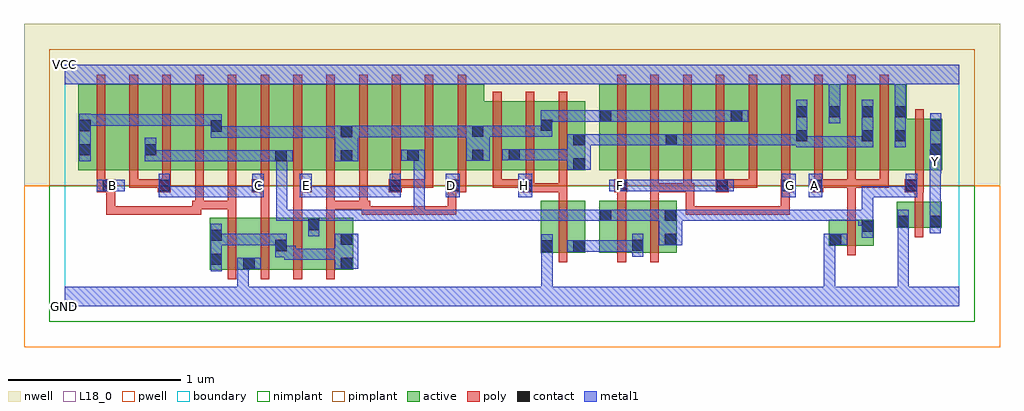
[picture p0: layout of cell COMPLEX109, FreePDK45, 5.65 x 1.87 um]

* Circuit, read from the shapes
.subckt COMPLEX109 A B C D E F G GND H VCC Y
M1 GND B n1 VSUBS nfet w=0.3u l=0.05u
M2 n1 C GND VSUBS nfet w=0.3u l=0.05u
M3 n2 E n1 VSUBS nfet w=0.3u l=0.05u
M4 n1 D n2 VSUBS nfet w=0.3u l=0.05u
M5 n3 H GND VSUBS nfet w=0.3u l=0.05u
M6 n3 F n2 VSUBS nfet w=0.3u l=0.05u
M7 n2 G n3 VSUBS nfet w=0.3u l=0.05u
M8 n2 A GND VSUBS nfet w=0.15u l=0.05u
M9 Y n2 GND VSUBS nfet w=0.15u l=0.05u
M10 n4 B n5 n6 pfet w=0.5u l=0.05u
M11 n2 C n4 n6 pfet w=0.5u l=0.05u
M12 n7 C n2 n6 pfet w=0.5u l=0.05u
M13 n5 B n7 n6 pfet w=0.5u l=0.05u
M14 n8 B n5 n6 pfet w=0.5u l=0.05u
M15 n2 C n8 n6 pfet w=0.5u l=0.05u
M16 n9 E n2 n6 pfet w=0.5u l=0.05u
M17 n5 D n9 n6 pfet w=0.5u l=0.05u
M18 n10 D n5 n6 pfet w=0.5u l=0.05u
M19 n2 E n10 n6 pfet w=0.5u l=0.05u
M20 n11 E n2 n6 pfet w=0.5u l=0.05u
M21 n5 D n11 n6 pfet w=0.5u l=0.05u
M22 n12 H n5 n6 pfet w=0.4u l=0.05u m=3
M23 n13 F n5 n6 pfet w=0.5u l=0.05u
M24 n12 G n13 n6 pfet w=0.5u l=0.05u
M25 n14 G n12 n6 pfet w=0.5u l=0.05u
M26 n5 F n14 n6 pfet w=0.5u l=0.05u
M27 n15 F n5 n6 pfet w=0.5u l=0.05u
M28 n12 G n15 n6 pfet w=0.5u l=0.05u
M29 VCC A n12 n6 pfet w=0.5u l=0.05u m=3
M30 Y n2 VCC n6 pfet w=0.3u l=0.05u
.ends

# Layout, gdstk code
import gdstk
lib = gdstk.Library(unit=1e-6, precision=1e-09)
def R(c, l, rs):  # rectangles x0, y0, x1, y1
    for r in rs: c.add(gdstk.rectangle(r[:2], r[2:], *l))
def A(c, l, x, y, w, h, nx, ny, dx, dy):  # array of equal rectangles
    R(c, l, [(x+i*dx, y+j*dy, x+i*dx+w, y+j*dy+h) for i in range(nx) for j in range(ny)])
active = (1, 0)
pwell = (2, 0)
nwell = (3, 0)
nimplant = (4, 0)
pimplant = (5, 0)
poly = (9, 0)
contact = (10, 0)
metal1 = (11, 0)
L18_0 = (18, 0)
boundary = (235, 0)

complex109 = lib.new_cell('COMPLEX109')
A(complex109, active, 0.08, 0.787, 0.225, 0.5, 3, 1, 0.38, 0)
A(complex109, active, 4.23, 0.787, 0.265, 0.5, 3, 1, 0.19, 0)
R(complex109, active, [(0.84,0.212,1.105,0.512), (1.03,0.212,1.29,0.512), (1.03,0.212,1.105,0.497), (1.215,0.212,1.48,0.512), (1.405,0.212,1.67,0.512), (1.595,0.212,1.67,0.512), (0.84,0.235,0.915,0.512), (1.215,0.235,1.29,0.497), (2.755,0.312,3.015,0.612), (2.755,0.312,2.83,0.392), (2.94,0.312,3.015,0.612), (3.095,0.312,3.355,0.612), (3.28,0.312,3.545,0.612), (3.28,0.312,3.355,0.497), (1.405,0.33,1.48,0.512), (3.095,0.33,3.17,0.612), (3.47,0.345,3.545,0.612), (4.425,0.352,4.5,0.502), (4.425,0.352,4.685,0.502), (4.61,0.352,4.685,0.502), (4.817,0.455,4.892,0.605), (4.817,0.455,5.077,0.605), (5.002,0.455,5.077,0.605), (0.08,0.787,0.185,1.2), (0.305,0.787,0.535,1.287), (0.46,0.787,0.535,1.07), (0.685,0.787,0.915,1.287), (0.84,0.787,0.915,1.2), (1.065,0.787,1.29,1.287), (1.215,0.787,1.29,1.07), (1.215,0.787,1.445,1.287), (1.445,0.787,1.67,1.287), (1.595,0.787,1.67,1.2), (1.595,0.787,1.825,1.287), (1.825,0.787,2.055,1.287), (1.98,0.787,2.205,1.287), (1.98,0.787,2.055,1.07), (2.205,0.787,2.43,1.287), (2.355,0.787,2.43,1.2), (2.355,0.787,2.64,1.187), (2.565,0.787,2.64,1.07), (2.565,0.787,2.827,1.187), (2.752,0.787,3.015,1.187), (2.752,0.787,2.827,1.155), (2.94,0.787,3.015,1.07), (3.095,0.787,3.32,1.287), (3.32,0.787,3.55,1.287), (3.475,0.787,3.7,1.287), (3.475,0.787,3.55,1.07), (3.7,0.787,3.927,1.287), (3.852,0.787,4.08,1.287), (4.08,0.787,4.305,1.287), (4.42,0.787,4.495,1.287), (4.61,0.787,4.685,1.2), (4.8,0.787,5.08,1.087), (4.8,0.787,4.875,1.165), (5.005,0.787,5.08,1.087), (3.095,0.807,3.2,1.2), (3.852,0.807,3.927,1.2), (4.23,0.807,4.305,1.2)])
R(complex109, pwell, [(-0.235,-0.235,5.415,0.7)])
R(complex109, nwell, [(-0.235,0.7,5.415,1.635)])
R(complex109, nimplant, [(-0.09,-0.09,5.27,0.7)])
R(complex109, pimplant, [(-0.09,0.7,5.27,1.49)])
A(complex109, poly, 0.945, 0.157, 0.05, 0.41, 4, 1, 0.19, 0)
A(complex109, poly, 0.185, 0.687, 0.05, 0.095, 3, 1, 0.19, 0)
A(complex109, poly, 1.895, 0.687, 0.05, 0.095, 3, 1, 0.19, 0)
A(complex109, poly, 3.77, 0.687, 0.05, 0.095, 6, 1, 0.19, 0)
A(complex109, poly, 0.185, 0.732, 0.05, 0.61, 12, 1, 0.19, 0)
A(complex109, poly, 2.48, 0.732, 0.05, 0.51, 3, 1, 0.19, 0)
A(complex109, poly, 3.2, 0.732, 0.05, 0.61, 9, 1, 0.19, 0)
R(complex109, poly, [(2.86,0.257,2.91,0.667), (3.2,0.257,3.25,0.667), (3.39,0.257,3.44,0.667), (4.53,0.297,4.58,0.557), (4.922,0.4,4.972,0.66), (4.53,0.507,4.58,0.737), (0.945,0.517,0.995,0.612), (1.135,0.517,1.185,0.712), (1.325,0.517,1.375,0.712), (1.515,0.517,1.565,0.612), (0.242,0.53,0.292,0.58), (0.242,0.53,0.292,0.58), (0.242,0.53,0.292,0.58), (0.242,0.53,0.292,0.712), (0.242,0.53,0.425,0.58), (0.375,0.53,0.425,0.58), (0.375,0.53,0.557,0.58), (0.507,0.53,0.557,0.58), (0.507,0.53,0.557,0.58), (0.507,0.53,0.557,0.58), (0.507,0.53,0.79,0.58), (0.74,0.53,0.79,0.58), (0.74,0.53,0.79,0.58), (0.74,0.53,0.79,0.58), (0.74,0.53,0.79,0.612), (1.72,0.53,1.77,0.58), (1.72,0.53,1.902,0.58), (1.72,0.53,1.77,0.612), (1.852,0.53,1.902,0.58), (1.852,0.53,1.902,0.58), (1.852,0.53,1.902,0.58), (1.852,0.53,2.135,0.58), (2.085,0.53,2.135,0.58), (2.085,0.53,2.135,0.58), (2.085,0.53,2.135,0.58), (2.085,0.53,2.267,0.58), (2.217,0.53,2.267,0.58), (2.217,0.53,2.267,0.58), (2.217,0.53,2.267,0.58), (2.217,0.53,2.267,0.58), (2.217,0.53,2.267,0.58), (2.217,0.53,2.267,0.712), (3.595,0.53,3.645,0.58), (3.595,0.53,3.645,0.58), (3.595,0.53,3.645,0.58), (3.595,0.53,3.645,0.58), (3.595,0.53,3.645,0.58), (3.595,0.53,3.645,0.712), (3.595,0.53,3.845,0.58), (3.795,0.53,3.845,0.58), (3.795,0.53,3.845,0.58), (3.795,0.53,3.845,0.58), (3.795,0.53,3.977,0.58), (3.927,0.53,3.977,0.58), (3.927,0.53,4.197,0.58), (4.147,0.53,4.197,0.58), (4.147,0.53,4.197,0.58), (4.147,0.53,4.197,0.58), (4.147,0.53,4.197,0.58), (4.147,0.53,4.197,0.58), (4.147,0.53,4.197,0.712), (0.74,0.562,0.79,0.612), (0.74,0.562,0.79,0.612), (0.74,0.562,0.805,0.612), (0.755,0.562,0.995,0.612), (0.755,0.562,0.805,0.782), (0.945,0.562,0.995,0.612), (0.945,0.562,0.995,0.612), (0.945,0.562,0.995,0.612), (0.945,0.562,0.995,0.782), (1.515,0.562,1.565,0.612), (1.515,0.562,1.565,0.612), (1.515,0.562,1.565,0.612), (1.515,0.562,1.755,0.612), (1.515,0.562,1.565,0.782), (1.705,0.562,1.77,0.612), (1.705,0.562,1.755,0.782), (1.72,0.562,1.77,0.612), (1.72,0.562,1.77,0.612), (4.922,0.61,4.972,0.712), (2.86,0.617,2.91,0.712), (3.2,0.617,3.25,0.712), (3.39,0.617,3.44,0.712), (0.185,0.662,0.292,0.737), (0.242,0.662,0.292,0.712), (0.242,0.662,0.292,0.712), (0.54,0.662,0.615,0.737), (1.082,0.662,1.185,0.737), (1.325,0.662,1.432,0.737), (1.877,0.662,1.952,0.737), (2.217,0.662,2.325,0.737), (2.637,0.662,2.72,0.737), (2.67,0.662,2.91,0.712), (2.86,0.662,2.91,0.712), (2.86,0.662,2.91,0.712), (2.86,0.662,2.91,0.712), (2.86,0.662,2.91,0.782), (3.182,0.662,3.257,0.737), (3.39,0.662,3.44,0.712), (3.39,0.662,3.44,0.712), (3.39,0.662,3.44,0.712), (3.39,0.662,3.63,0.712), (3.39,0.662,3.44,0.782), (3.58,0.662,3.63,0.782), (3.58,0.662,3.645,0.712), (3.77,0.662,3.845,0.737), (4.147,0.662,4.222,0.737), (4.317,0.662,4.392,0.737), (4.865,0.662,4.975,0.737), (0.375,0.687,0.425,0.737), (0.375,0.687,0.59,0.737), (0.54,0.687,0.59,0.737), (0.54,0.687,0.59,0.737), (1.135,0.687,1.185,0.782), (1.325,0.687,1.375,0.782), (1.902,0.687,2.135,0.737), (2.085,0.687,2.135,0.737), (2.085,0.687,2.135,0.737), (2.085,0.687,2.135,0.737), (2.48,0.687,2.53,0.782), (2.48,0.687,2.53,0.737), (2.48,0.687,2.687,0.737), (2.637,0.687,2.687,0.737), (2.637,0.687,2.687,0.737), (2.67,0.687,2.72,0.782), (3.2,0.687,3.25,0.782), (3.795,0.687,3.845,0.737), (3.795,0.687,3.845,0.737), (3.795,0.687,4.01,0.737), (3.96,0.687,4.01,0.737), (4.342,0.687,4.392,0.737), (4.342,0.687,4.392,0.737), (4.342,0.687,4.58,0.737), (4.53,0.687,4.58,0.737), (4.53,0.687,4.77,0.737), (4.72,0.687,4.77,0.737), (4.72,0.687,4.77,0.737), (4.72,0.687,4.77,0.737), (4.925,0.687,4.975,0.782), (4.925,0.732,4.975,1.142)])
A(complex109, contact, 4.235, 1.095, 0.065, 0.065, 4, 1, 0.19, 0)
R(complex109, contact, [(1.035,0.217,1.1,0.282), (1.6,0.217,1.665,0.282), (0.845,0.24,0.91,0.305), (2.76,0.317,2.825,0.382), (2.945,0.317,3.01,0.382), (1.22,0.32,1.285,0.385), (3.285,0.322,3.35,0.387), (3.475,0.355,3.54,0.42), (1.6,0.357,1.665,0.422), (4.43,0.357,4.495,0.422), (0.845,0.38,0.91,0.445), (4.615,0.432,4.68,0.497), (1.41,0.442,1.475,0.507), (4.822,0.46,4.887,0.525), (5.007,0.46,5.072,0.525), (3.1,0.495,3.165,0.56), (3.475,0.495,3.54,0.56), (0.222,0.667,0.287,0.732), (0.545,0.667,0.61,0.732), (1.087,0.667,1.152,0.732), (1.362,0.667,1.427,0.732), (1.882,0.667,1.947,0.732), (2.222,0.667,2.287,0.732), (2.642,0.667,2.707,0.732), (3.187,0.667,3.252,0.732), (3.775,0.667,3.84,0.732), (4.152,0.667,4.217,0.732), (4.322,0.667,4.387,0.732), (4.87,0.667,4.935,0.732), (2.945,0.792,3.01,0.857), (1.22,0.84,1.285,0.905), (1.6,0.84,1.665,0.905), (1.985,0.842,2.05,0.907), (2.36,0.842,2.425,0.907), (2.57,0.845,2.635,0.91), (0.085,0.875,0.15,0.94), (0.465,0.875,0.53,0.94), (5.01,0.877,5.075,0.942), (2.945,0.932,3.01,0.997), (3.48,0.932,3.545,0.997), (4.235,0.955,4.3,1.02), (4.615,0.955,4.68,1.02), (4.805,0.955,4.87,1.02), (1.6,0.98,1.665,1.045), (2.36,0.982,2.425,1.047), (0.845,1.012,0.91,1.077), (0.085,1.015,0.15,1.08), (2.757,1.017,2.822,1.082), (5.01,1.017,5.075,1.082), (3.1,1.07,3.165,1.135), (3.857,1.07,3.922,1.135)])
A(complex109, metal1, 3.272, 0.495, 0.203, 0.065, 4, 1, 0.275, 0)
A(complex109, metal1, 3.685, 0.495, 0.202, 0.065, 3, 1, 0.275, 0)
A(complex109, metal1, 3.135, 1.07, 0.202, 0.065, 3, 1, 0.275, 0)
R(complex109, metal1, [(0,0,5.18,0.115), (1,0.05,1.065,0.115), (1,0.05,1.065,0.115), (1,0.05,1.065,0.115), (1,0.05,1.065,0.115), (1,0.05,1.065,0.282), (2.76,0.05,2.825,0.115), (2.76,0.05,2.825,0.115), (2.76,0.05,2.825,0.347), (4.395,0.05,4.46,0.422), (4.822,0.05,4.887,0.115), (4.822,0.05,4.887,0.115), (4.822,0.05,4.887,0.115), (4.822,0.05,4.887,0.115), (4.822,0.05,4.887,0.49), (0.845,0.205,0.91,0.48), (1,0.217,1.135,0.282), (1.565,0.217,1.7,0.422), (1.272,0.27,1.427,0.335), (1.272,0.27,1.337,0.35), (1.362,0.27,1.427,0.335), (1.362,0.27,1.57,0.335), (1.505,0.27,1.57,0.335), (1.505,0.27,1.63,0.335), (2.76,0.282,2.825,0.347), (2.76,0.282,2.825,0.347), (2.76,0.282,2.825,0.417), (1.22,0.285,1.285,0.42), (1.22,0.285,1.337,0.35), (3.285,0.287,3.35,0.422), (2.91,0.317,3.045,0.382), (2.98,0.317,3.182,0.382), (3.117,0.317,3.182,0.382), (3.117,0.317,3.182,0.382), (3.117,0.317,3.182,0.382), (3.117,0.317,3.35,0.382), (0.845,0.355,0.91,0.42), (0.845,0.355,0.91,0.42), (0.845,0.355,1.047,0.42), (0.982,0.355,1.047,0.42), (0.982,0.355,1.047,0.42), (0.982,0.355,1.047,0.42), (0.982,0.355,1.285,0.42), (3.44,0.355,3.575,0.56), (4.395,0.357,4.46,0.422), (4.395,0.357,4.46,0.422), (4.395,0.357,4.46,0.422), (4.395,0.357,4.46,0.422), (4.395,0.357,4.46,0.422), (4.395,0.357,4.46,0.422), (4.395,0.357,4.53,0.422), (4.615,0.397,4.68,0.532), (1.41,0.407,1.475,0.56), (4.822,0.425,4.887,0.49), (4.822,0.425,4.887,0.49), (4.822,0.425,4.887,0.56), (5.007,0.425,5.072,0.56), (4.595,0.467,4.68,0.532), (4.595,0.467,4.66,0.56), (4.615,0.467,4.68,0.697), (1.225,0.495,1.29,0.56), (1.225,0.495,1.29,0.56), (1.225,0.495,1.29,0.56), (1.225,0.495,1.29,0.56), (1.225,0.495,1.29,0.56), (1.225,0.495,1.475,0.56), (1.225,0.495,1.29,0.905), (1.41,0.495,1.57,0.56), (1.505,0.495,1.57,0.56), (1.505,0.495,1.707,0.56), (1.642,0.495,1.707,0.56), (1.642,0.495,1.707,0.56), (1.642,0.495,1.707,0.56), (1.642,0.495,1.877,0.56), (1.812,0.495,1.877,0.56), (1.812,0.495,1.877,0.56), (1.812,0.495,1.877,0.56), (1.812,0.495,2.085,0.56), (2.02,0.495,2.085,0.56), (2.02,0.495,2.085,0.56), (2.02,0.495,2.085,0.56), (2.02,0.495,2.222,0.56), (2.02,0.495,2.085,0.907), (2.157,0.495,2.222,0.56), (2.157,0.495,2.222,0.56), (2.157,0.495,2.222,0.56), (2.157,0.495,2.36,0.56), (2.295,0.495,2.36,0.56), (2.295,0.495,2.527,0.56), (2.462,0.495,2.527,0.56), (2.462,0.495,2.67,0.56), (2.605,0.495,2.67,0.56), (2.605,0.495,2.67,0.56), (2.605,0.495,2.67,0.56), (2.605,0.495,2.807,0.56), (2.742,0.495,2.807,0.56), (2.742,0.495,2.807,0.56), (2.742,0.495,2.807,0.56), (2.742,0.495,2.96,0.56), (2.895,0.495,2.96,0.56), (2.895,0.495,3.13,0.56), (3.065,0.495,3.2,0.56), (3.135,0.495,3.337,0.56), (3.272,0.495,3.337,0.56), (3.272,0.495,3.337,0.56), (3.272,0.495,3.337,0.56), (3.41,0.495,3.475,0.56), (3.41,0.495,3.505,0.56), (3.51,0.495,3.612,0.56), (3.547,0.495,3.612,0.56), (3.685,0.495,3.75,0.56), (3.822,0.495,3.887,0.56), (3.822,0.495,3.887,0.56), (3.822,0.495,3.887,0.56), (3.96,0.495,4.025,0.56), (4.097,0.495,4.162,0.56), (4.097,0.495,4.162,0.56), (4.097,0.495,4.162,0.56), (4.235,0.495,4.3,0.56), (4.235,0.495,4.3,0.56), (4.235,0.495,4.3,0.56), (4.372,0.495,4.437,0.56), (4.372,0.495,4.66,0.56), (5.007,0.495,5.072,0.837), (0.545,0.632,0.61,0.767), (0.545,0.632,0.772,0.697), (0.707,0.632,0.772,0.697), (0.707,0.632,0.772,0.697), (0.707,0.632,0.772,0.697), (0.707,0.632,0.91,0.697), (0.845,0.632,0.91,0.697), (0.845,0.632,0.91,0.697), (0.845,0.632,0.91,0.697), (0.845,0.632,1.047,0.697), (0.982,0.632,1.047,0.697), (0.982,0.632,1.152,0.697), (1.087,0.632,1.152,0.767), (1.362,0.632,1.432,0.767), (1.367,0.632,1.432,0.697), (1.367,0.632,1.432,0.697), (1.367,0.632,1.57,0.697), (1.505,0.632,1.57,0.697), (1.505,0.632,1.74,0.697), (1.675,0.632,1.74,0.697), (1.675,0.632,1.74,0.697), (1.675,0.632,1.74,0.697), (1.675,0.632,1.877,0.697), (1.812,0.632,1.877,0.697), (1.812,0.632,1.947,0.697), (1.882,0.632,1.947,0.767), (2.207,0.632,2.287,0.767), (2.627,0.632,2.707,0.767), (4.152,0.632,4.232,0.767), (4.307,0.632,4.387,0.767), (4.615,0.632,4.68,0.697), (4.615,0.632,4.797,0.697), (4.732,0.632,4.797,0.697), (4.732,0.632,4.935,0.697), (4.87,0.632,4.935,0.697), (4.87,0.632,4.935,0.697), (4.87,0.632,4.935,0.767), (0.187,0.667,0.347,0.732), (3.152,0.667,3.287,0.732), (3.222,0.667,3.337,0.732), (3.272,0.667,3.337,0.732), (3.272,0.667,3.475,0.732), (3.41,0.667,3.475,0.732), (3.41,0.667,3.612,0.732), (3.547,0.667,3.612,0.732), (3.547,0.667,3.612,0.732), (3.547,0.667,3.612,0.732), (3.547,0.667,3.75,0.732), (3.685,0.667,3.75,0.732), (3.685,0.667,3.805,0.732), (3.74,0.667,3.875,0.732), (5.007,0.772,5.075,0.907), (2.91,0.792,3.045,0.997), (0.085,0.84,0.15,1.115), (0.465,0.84,0.53,0.905), (0.465,0.84,0.53,0.905), (0.465,0.84,0.53,0.975), (0.465,0.84,0.772,0.905), (0.707,0.84,0.772,0.905), (0.707,0.84,0.772,0.905), (0.707,0.84,0.772,0.905), (0.707,0.84,0.91,0.905), (0.845,0.84,0.91,0.905), (0.845,0.84,0.91,0.905), (0.845,0.84,0.91,0.905), (0.845,0.84,1.112,0.905), (1.047,0.84,1.112,0.905), (1.047,0.84,1.112,0.905), (1.047,0.84,1.112,0.905), (1.047,0.84,1.25,0.905), (1.185,0.84,1.32,0.905), (1.565,0.84,1.7,1.045), (1.95,0.842,2.085,0.907), (2.02,0.842,2.085,0.907), (2.02,0.842,2.085,0.907), (2.325,0.842,2.46,1.047), (5.01,0.842,5.075,0.907), (5.01,0.842,5.075,1.117), (2.535,0.845,2.67,0.91), (2.605,0.845,2.67,0.91), (2.605,0.845,2.67,0.91), (2.605,0.845,2.822,0.91), (2.757,0.845,2.822,0.91), (2.757,0.845,2.822,0.91), (2.757,0.845,2.822,0.91), (2.757,0.845,2.975,0.91), (4.235,0.92,4.3,0.985), (4.235,0.92,4.3,0.985), (4.235,0.92,4.3,1.195), (4.235,0.92,4.437,0.985), (4.372,0.92,4.437,0.985), (4.372,0.92,4.437,0.985), (4.372,0.92,4.437,0.985), (4.372,0.92,4.68,0.985), (4.615,0.92,4.68,1.195), (4.805,0.92,4.87,1.195), (2.98,0.932,3.182,0.997), (3.117,0.932,3.182,0.997), (3.117,0.932,3.182,0.997), (3.117,0.932,3.182,0.997), (3.117,0.932,3.337,0.997), (3.272,0.932,3.337,0.997), (3.272,0.932,3.475,0.997), (3.41,0.932,3.475,0.997), (3.41,0.932,3.51,0.997), (3.445,0.932,3.58,0.997), (3.515,0.932,3.65,0.997), (3.585,0.932,3.65,0.997), (3.585,0.932,3.75,0.997), (3.685,0.932,3.75,0.997), (3.685,0.932,3.887,0.997), (3.822,0.932,3.887,0.997), (3.822,0.932,3.887,0.997), (3.822,0.932,3.887,0.997), (3.822,0.932,4.025,0.997), (3.96,0.932,4.025,0.997), (3.96,0.932,4.025,0.997), (3.96,0.932,4.025,0.997), (3.96,0.932,4.162,0.997), (4.097,0.932,4.162,0.997), (4.097,0.932,4.3,0.997), (0.845,0.977,0.91,1.042), (0.845,0.977,0.91,1.042), (0.845,0.977,0.91,1.112), (0.845,0.977,1.112,1.042), (1.047,0.977,1.112,1.042), (1.047,0.977,1.112,1.042), (1.047,0.977,1.112,1.042), (1.047,0.977,1.29,1.042), (1.225,0.977,1.29,1.042), (1.225,0.977,1.432,1.042), (1.367,0.977,1.432,1.042), (1.367,0.977,1.432,1.042), (1.367,0.977,1.432,1.042), (1.367,0.977,1.57,1.042), (1.505,0.977,1.57,1.042), (1.505,0.977,1.63,1.042), (1.635,0.98,1.707,1.045), (1.642,0.98,1.707,1.045), (1.642,0.98,1.877,1.045), (1.812,0.98,1.877,1.045), (1.812,0.98,1.877,1.045), (1.812,0.98,1.877,1.045), (1.812,0.98,2.085,1.045), (2.02,0.98,2.085,1.045), (2.02,0.98,2.085,1.045), (2.02,0.98,2.085,1.045), (2.02,0.98,2.222,1.045), (2.157,0.98,2.222,1.045), (2.157,0.98,2.39,1.045), (2.325,0.98,2.39,1.045), (2.325,0.98,2.39,1.045), (2.395,0.982,2.527,1.047), (2.462,0.982,2.527,1.047), (2.462,0.982,2.67,1.047), (2.605,0.982,2.67,1.047), (2.605,0.982,2.67,1.047), (2.605,0.982,2.67,1.047), (2.605,0.982,2.822,1.047), (2.757,0.982,2.822,1.117), (0.085,1.047,0.15,1.112), (0.085,1.047,0.15,1.112), (0.085,1.047,0.347,1.112), (0.282,1.047,0.347,1.112), (0.282,1.047,0.347,1.112), (0.282,1.047,0.347,1.112), (0.282,1.047,0.485,1.112), (0.42,1.047,0.485,1.112), (0.42,1.047,0.485,1.112), (0.42,1.047,0.485,1.112), (0.42,1.047,0.772,1.112), (0.707,1.047,0.772,1.112), (0.707,1.047,0.772,1.112), (0.707,1.047,0.772,1.112), (0.707,1.047,0.91,1.112), (2.757,1.052,2.822,1.117), (2.757,1.052,2.822,1.135), (4.425,1.06,4.49,1.195), (2.757,1.07,3.045,1.135), (2.98,1.07,3.045,1.135), (2.98,1.07,3.13,1.135), (3.065,1.07,3.2,1.135), (3.272,1.07,3.337,1.135), (3.272,1.07,3.337,1.135), (3.272,1.07,3.337,1.135), (3.272,1.07,3.475,1.135), (3.41,1.07,3.475,1.135), (3.41,1.07,3.475,1.135), (3.41,1.07,3.475,1.135), (3.547,1.07,3.612,1.135), (3.547,1.07,3.75,1.135), (3.685,1.07,3.75,1.135), (3.822,1.07,3.887,1.135), (3.822,1.07,3.887,1.135), (3.822,1.07,3.957,1.135), (4.425,1.13,4.49,1.35), (4.805,1.13,4.87,1.35), (0,1.285,5.18,1.4)])
R(complex109, L18_0, [(0,0,5.18,0.115), (1,0.05,1.065,0.115), (1,0.05,1.065,0.115), (1,0.05,1.065,0.115), (1,0.05,1.065,0.115), (1,0.05,1.065,0.282), (2.76,0.05,2.825,0.115), (2.76,0.05,2.825,0.115), (2.76,0.05,2.825,0.347), (4.395,0.05,4.46,0.422), (4.822,0.05,4.887,0.115), (4.822,0.05,4.887,0.115), (4.822,0.05,4.887,0.115), (4.822,0.05,4.887,0.115), (4.822,0.05,4.887,0.49), (1,0.217,1.135,0.282), (2.76,0.282,2.825,0.417), (2.76,0.282,2.825,0.347), (2.76,0.282,2.825,0.347), (4.395,0.357,4.46,0.422), (4.395,0.357,4.46,0.422), (4.395,0.357,4.46,0.422), (4.395,0.357,4.46,0.422), (4.395,0.357,4.46,0.422), (4.395,0.357,4.46,0.422), (4.395,0.357,4.53,0.422), (4.822,0.425,4.887,0.56), (4.822,0.425,4.887,0.49), (4.822,0.425,4.887,0.49), (5.007,0.425,5.072,0.56), (5.007,0.495,5.072,0.837), (0.545,0.632,0.61,0.767), (0.545,0.632,0.772,0.697), (0.707,0.632,0.772,0.697), (0.707,0.632,0.772,0.697), (0.707,0.632,0.772,0.697), (0.707,0.632,0.91,0.697), (0.845,0.632,0.91,0.697), (0.845,0.632,0.91,0.697), (0.845,0.632,0.91,0.697), (0.845,0.632,1.047,0.697), (0.982,0.632,1.047,0.697), (0.982,0.632,1.152,0.697), (1.087,0.632,1.152,0.767), (1.362,0.632,1.432,0.767), (1.367,0.632,1.432,0.697), (1.367,0.632,1.432,0.697), (1.367,0.632,1.57,0.697), (1.505,0.632,1.57,0.697), (1.505,0.632,1.74,0.697), (1.675,0.632,1.74,0.697), (1.675,0.632,1.74,0.697), (1.675,0.632,1.74,0.697), (1.675,0.632,1.877,0.697), (1.812,0.632,1.877,0.697), (1.812,0.632,1.947,0.697), (1.882,0.632,1.947,0.767), (2.207,0.632,2.287,0.767), (2.627,0.632,2.707,0.767), (4.152,0.632,4.232,0.767), (4.307,0.632,4.387,0.767), (0.187,0.667,0.347,0.732), (0.247,0.667,0.312,0.732), (1.087,0.667,1.152,0.732), (1.367,0.667,1.432,0.732), (2.207,0.667,2.272,0.732), (2.627,0.667,2.692,0.732), (3.152,0.667,3.287,0.732), (3.187,0.667,3.252,0.732), (3.222,0.667,3.337,0.732), (3.272,0.667,3.337,0.732), (3.272,0.667,3.475,0.732), (3.41,0.667,3.475,0.732), (3.41,0.667,3.612,0.732), (3.547,0.667,3.612,0.732), (3.547,0.667,3.612,0.732), (3.547,0.667,3.612,0.732), (3.547,0.667,3.75,0.732), (3.685,0.667,3.75,0.732), (3.685,0.667,3.805,0.732), (3.74,0.667,3.875,0.732), (4.167,0.667,4.232,0.732), (4.307,0.667,4.372,0.732), (5.007,0.772,5.075,0.907), (5.007,0.807,5.072,0.872), (5.01,0.842,5.075,0.907), (5.01,0.842,5.075,1.117), (4.805,0.92,4.87,1.195), (4.425,1.06,4.49,1.195), (4.425,1.13,4.49,1.35), (4.805,1.13,4.87,1.35), (0,1.285,5.18,1.4)])
R(complex109, boundary, [(0,0,5.18,1.4)])
complex109.add(gdstk.Label('A', (4.34,0.7), layer=11, texttype=0))
complex109.add(gdstk.Label('B', (0.28,0.7), layer=11, texttype=0))
complex109.add(gdstk.Label('C', (1.12,0.7), layer=11, texttype=0))
complex109.add(gdstk.Label('D', (2.24,0.7), layer=11, texttype=0))
complex109.add(gdstk.Label('E', (1.4,0.7), layer=11, texttype=0))
complex109.add(gdstk.Label('F', (3.22,0.7), layer=11, texttype=0))
complex109.add(gdstk.Label('G', (4.2,0.7), layer=11, texttype=0))
complex109.add(gdstk.Label('H', (2.66,0.7), layer=11, texttype=0))
complex109.add(gdstk.Label('Y', (5.04,0.84), layer=11, texttype=0))
complex109.add(gdstk.Label('VCC', (0,1.4), layer=11, texttype=0))
complex109.add(gdstk.Label('GND', (0,0), layer=11, texttype=0))

lib.write_gds('COMPLEX109.gds')
